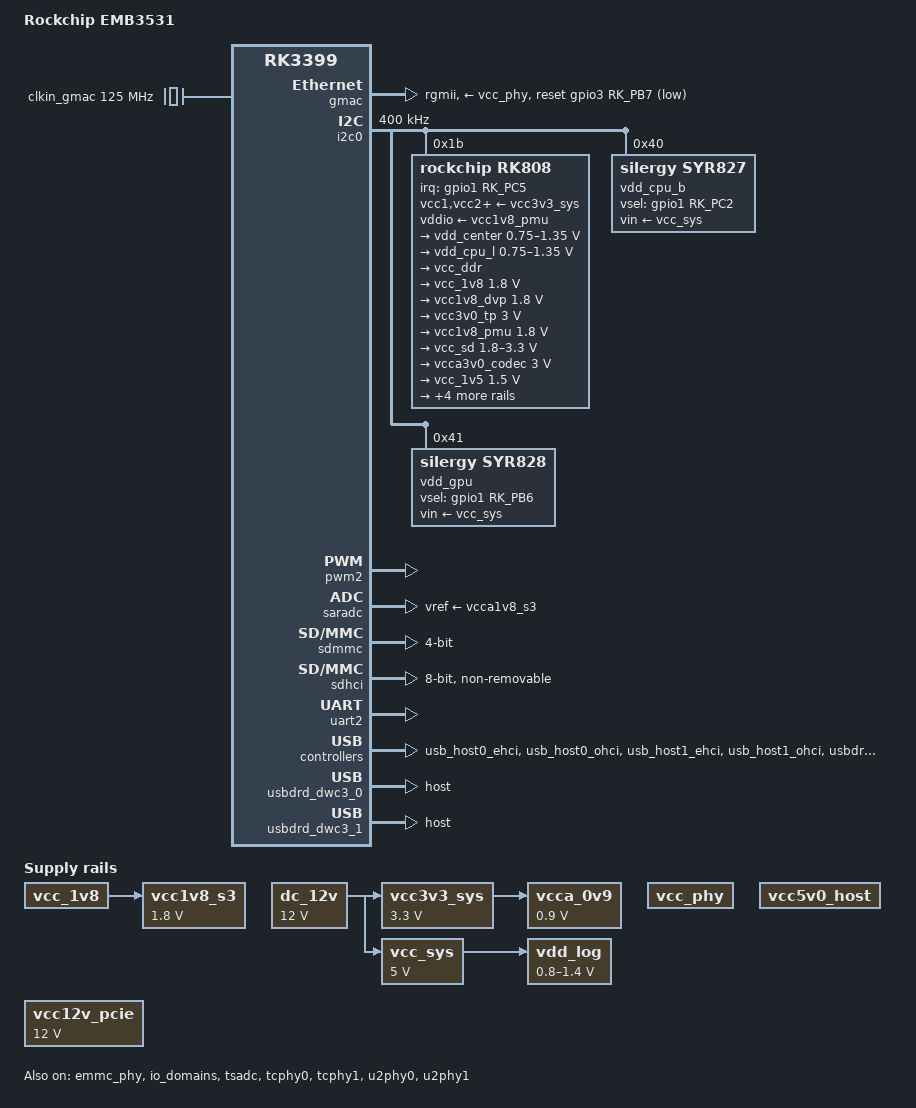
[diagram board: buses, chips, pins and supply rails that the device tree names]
// SPDX-License-Identifier: (GPL-2.0+ OR MIT)

/dts-v1/;
#include "rk3399.dtsi"

/ {
	model = "Rockchip EMB3531";
	compatible = "rockchip,emb3531", "rockchip,rk3399";

	aliases {
		mmc1 = &sdmmc;
		mmc2 = &sdhci;
	};

	chosen {
		stdout-path = "serial2:115200n8";
	};

	clkin_gmac: external-gmac-clock {
		compatible = "fixed-clock";
		clock-frequency = <125000000>;
		clock-output-names = "clkin_gmac";
		#clock-cells = <0>;
	};

	dc_12v: dc-12v {
		compatible = "regulator-fixed";
		regulator-name = "dc_12v";
		regulator-always-on;
		regulator-boot-on;
		regulator-min-microvolt = <12000000>;
		regulator-max-microvolt = <12000000>;
	};

	/* switched by pmic_sleep */
	vcc1v8_s3: vcca1v8_s3: vcc1v8-s3 {
		compatible = "regulator-fixed";
		regulator-name = "vcc1v8_s3";
		regulator-always-on;
		regulator-boot-on;
		regulator-min-microvolt = <1800000>;
		regulator-max-microvolt = <1800000>;
		vin-supply = <&vcc_1v8>;
	};

	vcc3v3_sys: vcc3v3_pcie: vcc3v3-sys {
		compatible = "regulator-fixed";
		regulator-name = "vcc3v3_sys";
		regulator-always-on;
		regulator-boot-on;
		regulator-min-microvolt = <3300000>;
		regulator-max-microvolt = <3300000>;
		vin-supply = <&dc_12v>;
	};

	vcc_sys: vcc-sys {
		compatible = "regulator-fixed";
		regulator-name = "vcc_sys";
		regulator-always-on;
		regulator-boot-on;
		regulator-min-microvolt = <5000000>;
		regulator-max-microvolt = <5000000>;
		vin-supply = <&dc_12v>;
	};

	vcc_phy: vcc-phy-regulator {
		compatible = "regulator-fixed";
		regulator-name = "vcc_phy";
		regulator-always-on;
		regulator-boot-on;
	};


	vdd_log: vdd-log {
		compatible = "pwm-regulator";
		pwms = <&pwm2 0 25000 1>;
		regulator-name = "vdd_log";
		regulator-always-on;
		regulator-boot-on;
		regulator-min-microvolt = <800000>;
		regulator-max-microvolt = <1400000>;
		vin-supply = <&vcc_sys>;
	};

	vcca_0v9: vcca-0v9 {
		compatible = "regulator-fixed";
		regulator-name = "vcca_0v9";
		regulator-always-on;
		regulator-boot-on;
		regulator-min-microvolt = <900000>;
		regulator-max-microvolt = <900000>;
		vin-supply = <&vcc3v3_sys>;
	};

	vcc5v0_host: regulator-vcc5v0-host {
		compatible = "regulator-fixed";
		enable-active-high;
		regulator-name = "vcc5v0_host";
		regulator-boot-on;
		regulator-always-on;
	};

	vcc12v_pcie: vcc12v-pcie {
		compatible = "regulator-fixed";
		regulator-name = "vcc12v_pcie";
		regulator-always-on;
		regulator-boot-on;
		regulator-min-microvolt = <12000000>;
		regulator-max-microvolt = <12000000>;
	};
};

&cpu_l0 {
	cpu-supply = <&vdd_cpu_l>;
};

&cpu_l1 {
	cpu-supply = <&vdd_cpu_l>;
};

&cpu_l2 {
	cpu-supply = <&vdd_cpu_l>;
};

&cpu_l3 {
	cpu-supply = <&vdd_cpu_l>;
};

&cpu_b0 {
	cpu-supply = <&vdd_cpu_b>;
};

&cpu_b1 {
	cpu-supply = <&vdd_cpu_b>;
};

&emmc_phy {
	status = "okay";
};

&gmac {
	assigned-clocks = <&cru SCLK_RMII_SRC>;
	assigned-clock-parents = <&clkin_gmac>;
	clock_in_out = "input";
	phy-supply = <&vcc_phy>;
	phy-mode = "rgmii";
	pinctrl-names = "default";
	pinctrl-0 = <&rgmii_pins>;
	snps,reset-gpio = <&gpio3 RK_PB7 GPIO_ACTIVE_HIGH>;
	snps,reset-active-low;
	snps,reset-delays-us = <0 10000 50000>;
	tx_delay = <0x1a>;
	rx_delay = <0x14>;
	status = "okay";
};


&i2c0 {
	clock-frequency = <400000>;
	i2c-scl-rising-time-ns = <168>;
	i2c-scl-falling-time-ns = <4>;
	status = "okay";

	rk808: pmic@1b {
		compatible = "rockchip,rk808";
		reg = <0x1b>;
		interrupt-parent = <&gpio1>;
		interrupts = <RK_PC5 IRQ_TYPE_LEVEL_LOW>;
		#clock-cells = <1>;
		clock-output-names = "xin32k", "rk808-clkout2";
		pinctrl-names = "default";
		pinctrl-0 = <&pmic_int_l>;
		rockchip,system-power-controller;
		wakeup-source;

		vcc1-supply = <&vcc3v3_sys>;
		vcc2-supply = <&vcc3v3_sys>;
		vcc3-supply = <&vcc3v3_sys>;
		vcc4-supply = <&vcc3v3_sys>;
		vcc6-supply = <&vcc3v3_sys>;
		vcc7-supply = <&vcc3v3_sys>;
		vcc8-supply = <&vcc3v3_sys>;
		vcc9-supply = <&vcc3v3_sys>;
		vcc10-supply = <&vcc3v3_sys>;
		vcc11-supply = <&vcc3v3_sys>;
		vcc12-supply = <&vcc3v3_sys>;
		vddio-supply = <&vcc1v8_pmu>;

		regulators {
			vdd_center: DCDC_REG1 {
				regulator-name = "vdd_center";
				regulator-always-on;
				regulator-boot-on;
				regulator-min-microvolt = <750000>;
				regulator-max-microvolt = <1350000>;
				regulator-ramp-delay = <6001>;
				regulator-state-mem {
					regulator-off-in-suspend;
				};
			};

			vdd_cpu_l: DCDC_REG2 {
				regulator-name = "vdd_cpu_l";
				regulator-always-on;
				regulator-boot-on;
				regulator-min-microvolt = <750000>;
				regulator-max-microvolt = <1350000>;
				regulator-ramp-delay = <6001>;
				regulator-state-mem {
					regulator-off-in-suspend;
				};
			};

			vcc_ddr: DCDC_REG3 {
				regulator-name = "vcc_ddr";
				regulator-always-on;
				regulator-boot-on;
				regulator-state-mem {
					regulator-on-in-suspend;
				};
			};

			vcc_1v8: DCDC_REG4 {
				regulator-name = "vcc_1v8";
				regulator-always-on;
				regulator-boot-on;
				regulator-min-microvolt = <1800000>;
				regulator-max-microvolt = <1800000>;
				regulator-state-mem {
					regulator-on-in-suspend;
					regulator-suspend-microvolt = <1800000>;
				};
			};

			vcc1v8_dvp: LDO_REG1 {
				regulator-name = "vcc1v8_dvp";
				regulator-always-on;
				regulator-boot-on;
				regulator-min-microvolt = <1800000>;
				regulator-max-microvolt = <1800000>;
				regulator-state-mem {
					regulator-off-in-suspend;
				};
			};

			vcc3v0_tp: LDO_REG2 {
				regulator-always-on;
				regulator-boot-on;
				regulator-min-microvolt = <3000000>;
				regulator-max-microvolt = <3000000>;
				regulator-name = "vcc3v0_tp";
				regulator-state-mem {
					regulator-off-in-suspend;
				};
			};

			vcc1v8_pmu: LDO_REG3 {
				regulator-name = "vcc1v8_pmu";
				regulator-always-on;
				regulator-boot-on;
				regulator-min-microvolt = <1800000>;
				regulator-max-microvolt = <1800000>;
				regulator-state-mem {
					regulator-on-in-suspend;
					regulator-suspend-microvolt = <1800000>;
				};
			};

			vcc_sd: LDO_REG4 {
				regulator-name = "vcc_sd";
				regulator-always-on;
				regulator-boot-on;
				regulator-min-microvolt = <1800000>;
				regulator-max-microvolt = <3300000>;
				regulator-state-mem {
					regulator-on-in-suspend;
					regulator-suspend-microvolt = <3300000>;
				};
			};

			vcca3v0_codec: LDO_REG5 {
				regulator-name = "vcca3v0_codec";
				regulator-always-on;
				regulator-boot-on;
				regulator-min-microvolt = <3000000>;
				regulator-max-microvolt = <3000000>;
				regulator-state-mem {
					regulator-off-in-suspend;
				};
			};

			vcc_1v5: LDO_REG6 {
				regulator-name = "vcc_1v5";
				regulator-always-on;
				regulator-boot-on;
				regulator-min-microvolt = <1500000>;
				regulator-max-microvolt = <1500000>;
				regulator-state-mem {
					regulator-on-in-suspend;
					regulator-suspend-microvolt = <1500000>;
				};
			};

			vcca1v8_codec: LDO_REG7 {
				regulator-name = "vcca1v8_codec";
				regulator-always-on;
				regulator-boot-on;
				regulator-min-microvolt = <1800000>;
				regulator-max-microvolt = <1800000>;
				regulator-state-mem {
					regulator-off-in-suspend;
				};
			};

			vcc_3v0: LDO_REG8 {
				regulator-name = "vcc_3v0";
				regulator-always-on;
				regulator-boot-on;
				regulator-min-microvolt = <3000000>;
				regulator-max-microvolt = <3000000>;
				regulator-state-mem {
					regulator-on-in-suspend;
					regulator-suspend-microvolt = <3000000>;
				};
			};

			vcc3v3_s3: SWITCH_REG1 {
				regulator-name = "vcc3v3_s3";
				regulator-always-on;
				regulator-boot-on;
				regulator-state-mem {
					regulator-off-in-suspend;
				};
			};

			vcc3v3_s0: SWITCH_REG2 {
				regulator-name = "vcc3v3_s0";
				regulator-always-on;
				regulator-boot-on;
				regulator-state-mem {
					regulator-off-in-suspend;
				};
			};
		};
	};

	vdd_cpu_b: regulator@40 {
		compatible = "silergy,syr827";
		reg = <0x40>;
		fcs,suspend-voltage-selector = <0>;
		pinctrl-names = "default";
		pinctrl-0 = <&vsel1_gpio>;
		vsel-gpios = <&gpio1 RK_PC2 GPIO_ACTIVE_HIGH>;
		regulator-name = "vdd_cpu_b";
		regulator-min-microvolt = <712500>;
		regulator-max-microvolt = <1500000>;
		regulator-ramp-delay = <1000>;
		regulator-always-on;
		regulator-boot-on;
		vin-supply = <&vcc_sys>;

		regulator-state-mem {
			regulator-off-in-suspend;
		};
	};

	vdd_gpu: regulator@41 {
		compatible = "silergy,syr828";
		reg = <0x41>;
		fcs,suspend-voltage-selector = <1>;
		pinctrl-names = "default";
		pinctrl-0 = <&vsel2_gpio>;
		vsel-gpios = <&gpio1 RK_PB6 GPIO_ACTIVE_HIGH>;
		regulator-name = "vdd_gpu";
		regulator-min-microvolt = <712500>;
		regulator-max-microvolt = <1500000>;
		regulator-ramp-delay = <1000>;
		regulator-always-on;
		regulator-boot-on;
		vin-supply = <&vcc_sys>;

		regulator-state-mem {
			regulator-off-in-suspend;
		};
	};
};

&i2c1 {
	status = "disabled";
};

&i2c3 {
	status = "disabled";
};

&io_domains {
	status = "okay";

	bt656-supply = <&vcc_3v0>;
	audio-supply = <&vcca1v8_codec>;
	sdmmc-supply = <&vcc_sd>;
	gpio1830-supply = <&vcc_3v0>;
};

&pmu_io_domains {
	status = "okay";
	pmu1830-supply = <&vcc_1v8>;
};


&pinctrl {
	pmic {
		vsel1_gpio: vsel1-gpio {
			rockchip,pins = <1 RK_PC2 RK_FUNC_GPIO &pcfg_pull_up>;
		};

		vsel2_gpio: vsel2-gpio {
			rockchip,pins = <1 RK_PB6 RK_FUNC_GPIO &pcfg_pull_down>;
		};

		pmic_int_l: pmic-int-l {
			rockchip,pins = <1 RK_PC5 RK_FUNC_GPIO &pcfg_pull_up>;
		};
	};

};

&pwm2 {
	status = "okay";
};

&saradc {
	vref-supply = <&vcca1v8_s3>;
	status = "okay";
};

&sdmmc {
	bus-width = <4>;
	cap-sd-highspeed;
	disable-wp;
	max-frequency = <150000000>;
	pinctrl-names = "default";
	pinctrl-0 = <&sdmmc_clk &sdmmc_cmd &sdmmc_bus4>;
	vqmmc-supply = <&vcc_sd>;
	status = "okay";
};

&sdhci {
	bus-width = <8>;
	mmc-hs400-1_8v;
	mmc-hs400-enhanced-strobe;
	keep-power-in-suspend;
	non-removable;
	status = "okay";
};

&tsadc {
	/* tshut mode 0:CRU 1:GPIO */
	rockchip,hw-tshut-mode = <1>;
	/* tshut polarity 0:LOW 1:HIGH */
	rockchip,hw-tshut-polarity = <1>;
	status = "okay";
};


/* Headless: disable unused multimedia accelerators */
&vpu {
	status = "disabled";
};

&vdec {
	status = "disabled";
};

&rga {
	status = "disabled";
};

/* Headless: disable DFI/DMC devfreq (unsupported memory type) */
&dfi {
	status = "disabled";
};

/* Headless: disable GPU */
&gpu {
	status = "disabled";
};

&uart2 {
	status = "okay";
};

&pcie_phy {
	status = "disabled";
};

&pcie0 {
	max-link-speed = <1>;
	num-lanes = <1>;
	pinctrl-names = "default";
	pinctrl-0 = <&pcie_clkreqn_cpm>;
	vpcie12v-supply = <&vcc12v_pcie>;
	vpcie3v3-supply = <&vcc3v3_pcie>;
	vpcie1v8-supply = <&vcc1v8_pmu>;
	vpcie0v9-supply = <&vcca_0v9>;
	status = "disabled";
};

&tcphy0 {
	status = "okay";
};

&tcphy1 {
	status = "okay";
};

&u2phy0 {
	status = "okay";

	u2phy0_otg: otg-port {
		status = "okay";
	};

	u2phy0_host: host-port {
		status = "okay";
		phy-supply = <&vcc5v0_host>;
	};
};

&u2phy1 {
	status = "okay";

	u2phy1_otg: otg-port {
		status = "okay";
	};

	u2phy1_host: host-port {
		status = "okay";
		phy-supply = <&vcc5v0_host>;
	};
};

&usb_host0_ehci {
	status = "okay";
};

&usb_host0_ohci {
	status = "okay";
};

&usb_host1_ehci {
	status = "okay";
};

&usb_host1_ohci {
	status = "okay";
};

&usbdrd3_0 {
	status = "okay";
};

&usbdrd_dwc3_0 {
	status = "okay";
	dr_mode = "host";
};

&usbdrd3_1 {
	status = "okay";
};

&usbdrd_dwc3_1 {
	status = "okay";
	dr_mode = "host";
};
